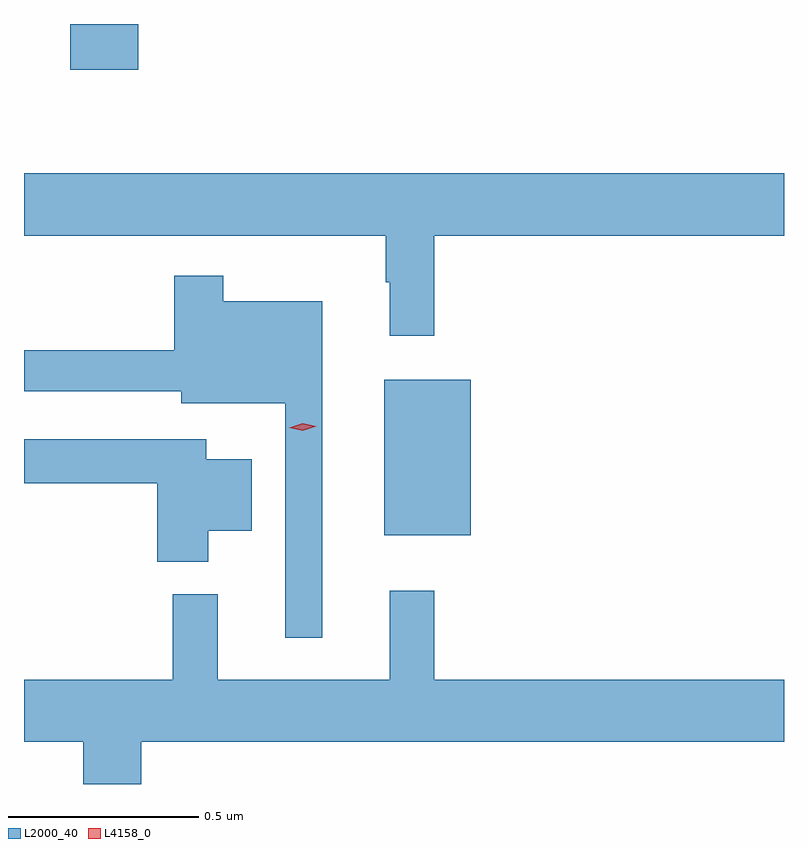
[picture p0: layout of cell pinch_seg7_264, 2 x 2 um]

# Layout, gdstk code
import gdstk
lib = gdstk.Library(unit=1e-6, precision=1e-09)
def R(c, l, rs):  # rectangles x0, y0, x1, y1
    for r in rs: c.add(gdstk.rectangle(r[:2], r[2:], *l))
def P(c, l, *ps):  # polygons
    for p in ps: c.add(gdstk.Polygon(p, *l))
L2000_40 = (2000, 40)
L4158_0 = (4158, 0)

pinch_seg7_264 = lib.new_cell('pinch_seg7_264')
R(pinch_seg7_264, L2000_40, [(822.839,1078.415,823.066,1078.825), (822.013,1079.64,822.191,1079.761)])
P(pinch_seg7_264, L2000_40, [(822.971,1079.204),(823.891,1079.204),(823.891,1079.368),(821.891,1079.368),(821.891,1079.204),(822.843,1079.204),(822.843,1079.081),(822.854,1079.081),(822.854,1078.941),(822.971,1078.941)],
  [(822.676,1079.032),(822.415,1079.032),(822.415,1079.098),(822.286,1079.098),(822.286,1078.903),(821.891,1078.903),(821.891,1078.794),(822.305,1078.794),(822.305,1078.763),(822.579,1078.763),(822.579,1078.146),(822.676,1078.146)],
  [(822.376,1078.427),(822.49,1078.427),(822.49,1078.615),(822.37,1078.615),(822.37,1078.668),(821.891,1078.668),(821.891,1078.552),(822.242,1078.552),(822.242,1078.346),(822.376,1078.346)],
  [(822.2,1077.872),(823.891,1077.872),(823.891,1078.036),(822.971,1078.036),(822.971,1078.27),(822.854,1078.27),(822.854,1078.036),(822.401,1078.036),(822.401,1078.261),(822.283,1078.261),(822.283,1078.036),(821.891,1078.036),(821.891,1077.872),(822.047,1077.872),(822.047,1077.761),(822.2,1077.761)])
P(pinch_seg7_264, L4158_0, [(822.625,1078.691),(822.589,1078.698),(822.589,1078.698),(822.589,1078.699),(822.624,1078.711),(822.66,1078.703),(822.66,1078.703),(822.66,1078.703)])

lib.write_gds('pinch_seg7_264.gds')
